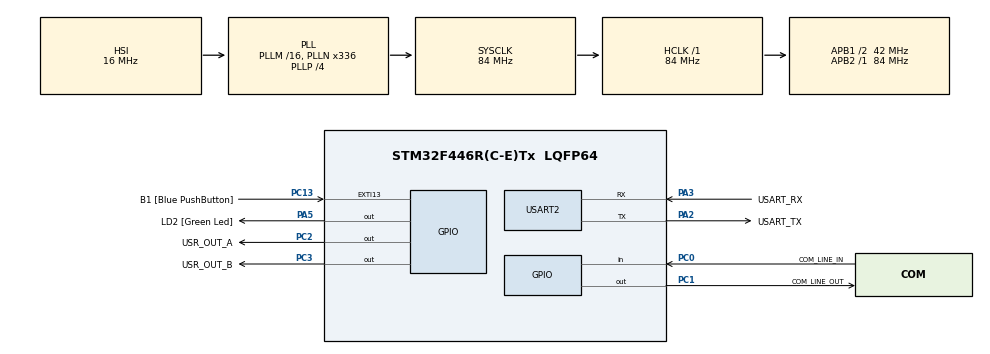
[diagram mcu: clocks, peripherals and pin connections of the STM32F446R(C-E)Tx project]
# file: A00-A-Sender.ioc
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Mcu.Family=STM32F4
Mcu.Name=STM32F446R(C-E)Tx
Mcu.Package=LQFP64
NVIC.PriorityGroup=NVIC_PRIORITYGROUP_0
PA13.GPIO_Label=TMS
PA13.Mode=Serial_Wire
PA13.Signal=SYS_JTMS-SWDIO
PA14.GPIO_Label=TCK
PA14.Mode=Serial_Wire
PA14.Signal=SYS_JTCK-SWCLK
PA2.GPIO_Label=USART_TX
PA2.Mode=Asynchronous
PA2.Signal=USART2_TX
PA3.GPIO_Label=USART_RX
PA3.Mode=Asynchronous
PA3.Signal=USART2_RX
PA5.GPIO_Label=LD2 [Green Led]
PA5.Signal=GPIO_Output
PB3.GPIO_Label=SWO
PB3.Signal=SYS_JTDO-SWO
PC0.GPIO_Label=COM_LINE_IN
PC0.Signal=GPIO_Input
PC1.GPIO_Label=COM_LINE_OUT
PC1.GPIO_ModeDefaultOutputPP=GPIO_MODE_OUTPUT_OD
PC1.GPIO_Speed=GPIO_SPEED_FREQ_VERY_HIGH
PC1.PinState=GPIO_PIN_RESET
PC1.Signal=GPIO_Output
PC13.GPIO_Label=B1 [Blue PushButton]
PC13.GPIO_ModeDefaultEXTI=GPIO_MODE_IT_FALLING
PC13.Signal=GPXTI13
PC14-OSC32_IN.Mode=LSE-External-Oscillator
PC14-OSC32_IN.Signal=RCC_OSC32_IN
PC15-OSC32_OUT.Mode=LSE-External-Oscillator
PC15-OSC32_OUT.Signal=RCC_OSC32_OUT
PC2.GPIO_Label=USR_OUT_A
PC2.GPIO_Speed=GPIO_SPEED_FREQ_VERY_HIGH
PC2.PinState=GPIO_PIN_SET
PC2.Signal=GPIO_Output
PC3.GPIO_Label=USR_OUT_B
PC3.GPIO_Speed=GPIO_SPEED_FREQ_VERY_HIGH
PC3.Signal=GPIO_Output
PH0-OSC_IN.Mode=HSE-External-Oscillator
PH0-OSC_IN.Signal=RCC_OSC_IN
PH1-OSC_OUT.Mode=HSE-External-Oscillator
PH1-OSC_OUT.Signal=RCC_OSC_OUT
ProjectManager.HeapSize=0x200
ProjectManager.StackSize=0x400
ProjectManager.TargetToolchain=STM32CubeIDE
RCC.48MHZClocksFreq_Value=84000000
RCC.AHBFreq_Value=84000000
RCC.APB1CLKDivider=RCC_HCLK_DIV2
RCC.APB1Freq_Value=42000000
RCC.APB1TimFreq_Value=84000000
RCC.APB2Freq_Value=84000000
RCC.APB2TimFreq_Value=84000000
RCC.CortexFreq_Value=84000000
RCC.FLatency-AdvancedSettings=FLASH_LATENCY_2
RCC.HCLKFreq_Value=84000000
RCC.HSE_VALUE=8000000
RCC.HSI_VALUE=16000000
RCC.PLLN=336
RCC.PLLP=RCC_PLLP_DIV4
RCC.SYSCLKFreq_VALUE=84000000
RCC.SYSCLKSource=RCC_SYSCLKSOURCE_PLLCLK
RCC.USBFreq_Value=168000000
RCC.VCOOutputFreq_Value=336000000
USART2.VirtualMode=VM_ASYNC
board=NUCLEO-F446RE

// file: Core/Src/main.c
/* USER CODE BEGIN Header */
/**
  ******************************************************************************
  * @file           : main.c
  * @brief          : Main program body
  ******************************************************************************
  * @attention
  *
  * <h2><center>&copy; Copyright (c) 2020 STMicroelectronics.
  * All rights reserved.</center></h2>
  *
  * This software component is licensed by ST under BSD 3-Clause license,
  * the "License"; You may not use this file except in compliance with the
  * License. You may obtain a copy of the License at:
  *                        opensource.org/licenses/BSD-3-Clause
  *
  ******************************************************************************
  */
/* USER CODE END Header */
#include "main.h"

/* USER CODE BEGIN PD */
//#define ARTIFICIAL_LOAD
#define IS_OPENDRAIN
/* USER CODE END PD */

UART_HandleTypeDef huart2;

void SystemClock_Config(void);
static void MX_GPIO_Init(void);
static void MX_USART2_UART_Init(void);

int main(void)
{

  /* MCU Configuration--------------------------------------------------------*/

  /* Reset of all peripherals, Initializes the Flash interface and the Systick. */
  HAL_Init();

  /* Configure the system clock */
  SystemClock_Config();

  /* Initialize all configured peripherals */
  MX_GPIO_Init();
  MX_USART2_UART_Init();
  /* USER CODE BEGIN 2 */

  //GPIO_PinState state_b1_logic = GPIO_PIN_RESET;
  GPIO_PinState state_b1_dynamic = GPIO_PIN_RESET;

#ifdef ARTIFICIAL_LOAD
  volatile uint32_t cmp_delay = 10;
#else
  volatile uint32_t cmp_pw = 100000;

#endif

  /* USER CODE END 2 */

  /* Infinite loop */
  while (1)
  {

    /* USER CODE BEGIN 3 */

	  // READ BUTTON
	  state_b1_dynamic = HAL_GPIO_ReadPin(B1_GPIO_Port, B1_Pin);

	  // WRITE LINE
#ifdef IS_OPENDRAIN
	  if(state_b1_dynamic == GPIO_PIN_RESET)
	  {
	  	  HAL_GPIO_WritePin(COM_LINE_OUT_GPIO_Port, COM_LINE_OUT_Pin, GPIO_PIN_RESET);
	  	  //for(uint32_t i = 0; i < cmp_pw; ++i){}
	  	  HAL_Delay(1);
	  	  HAL_GPIO_WritePin(COM_LINE_OUT_GPIO_Port, COM_LINE_OUT_Pin, GPIO_PIN_SET);
	  }

#else
	  if(state_b1_dynamic == GPIO_PIN_RESET)
	  	  {
		  	  HAL_GPIO_WritePin(USR_OUT_A_GPIO_Port, USR_OUT_A_Pin,GPIO_PIN_SET);
	  		  for(uint32_t i = 0; i < cmp_pw; ++i){}
		  	  HAL_GPIO_WritePin(USR_OUT_A_GPIO_Port, USR_OUT_A_Pin,GPIO_PIN_SET);
	  	  }
#endif

	  // LOAD
#ifdef ARTIFICIAL_LOAD
	  for(uint32_t i = 0; i < cmp_delay; ++i){}
#endif

  }
  /* USER CODE END 3 */
}

void SystemClock_Config(void)
{
  RCC_OscInitTypeDef RCC_OscInitStruct = {0};
  RCC_ClkInitTypeDef RCC_ClkInitStruct = {0};

  /** Configure the main internal regulator output voltage
  */
  __HAL_RCC_PWR_CLK_ENABLE();
  __HAL_PWR_VOLTAGESCALING_CONFIG(PWR_REGULATOR_VOLTAGE_SCALE3);
  /** Initializes the RCC Oscillators according to the specified parameters
  * in the RCC_OscInitTypeDef structure.
  */
  RCC_OscInitStruct.OscillatorType = RCC_OSCILLATORTYPE_HSI;
  RCC_OscInitStruct.HSIState = RCC_HSI_ON;
  RCC_OscInitStruct.HSICalibrationValue = RCC_HSICALIBRATION_DEFAULT;
  RCC_OscInitStruct.PLL.PLLState = RCC_PLL_ON;
  RCC_OscInitStruct.PLL.PLLSource = RCC_PLLSOURCE_HSI;
  RCC_OscInitStruct.PLL.PLLM = 16;
  RCC_OscInitStruct.PLL.PLLN = 336;
  RCC_OscInitStruct.PLL.PLLP = RCC_PLLP_DIV4;
  RCC_OscInitStruct.PLL.PLLQ = 2;
  RCC_OscInitStruct.PLL.PLLR = 2;
  if (HAL_RCC_OscConfig(&RCC_OscInitStruct) != HAL_OK)
  {
    Error_Handler();
  }
  /** Initializes the CPU, AHB and APB buses clocks
  */
  RCC_ClkInitStruct.ClockType = RCC_CLOCKTYPE_HCLK|RCC_CLOCKTYPE_SYSCLK
                              |RCC_CLOCKTYPE_PCLK1|RCC_CLOCKTYPE_PCLK2;
  RCC_ClkInitStruct.SYSCLKSource = RCC_SYSCLKSOURCE_PLLCLK;
  RCC_ClkInitStruct.AHBCLKDivider = RCC_SYSCLK_DIV1;
  RCC_ClkInitStruct.APB1CLKDivider = RCC_HCLK_DIV2;
  RCC_ClkInitStruct.APB2CLKDivider = RCC_HCLK_DIV1;

  if (HAL_RCC_ClockConfig(&RCC_ClkInitStruct, FLASH_LATENCY_2) != HAL_OK)
  {
    Error_Handler();
  }
}

static void MX_USART2_UART_Init(void)
{

  huart2.Instance = USART2;
  huart2.Init.BaudRate = 115200;
  huart2.Init.WordLength = UART_WORDLENGTH_8B;
  huart2.Init.StopBits = UART_STOPBITS_1;
  huart2.Init.Parity = UART_PARITY_NONE;
  huart2.Init.Mode = UART_MODE_TX_RX;
  huart2.Init.HwFlowCtl = UART_HWCONTROL_NONE;
  huart2.Init.OverSampling = UART_OVERSAMPLING_16;
  if (HAL_UART_Init(&huart2) != HAL_OK)
  {
    Error_Handler();
  }

}

static void MX_GPIO_Init(void)
{
  GPIO_InitTypeDef GPIO_InitStruct = {0};

  /* GPIO Ports Clock Enable */
  __HAL_RCC_GPIOC_CLK_ENABLE();
  __HAL_RCC_GPIOH_CLK_ENABLE();
  __HAL_RCC_GPIOA_CLK_ENABLE();
  __HAL_RCC_GPIOB_CLK_ENABLE();

  /*Configure GPIO pin Output Level */
  HAL_GPIO_WritePin(GPIOC, COM_LINE_OUT_Pin|USR_OUT_B_Pin, GPIO_PIN_RESET);

  /*Configure GPIO pin Output Level */
  HAL_GPIO_WritePin(USR_OUT_A_GPIO_Port, USR_OUT_A_Pin, GPIO_PIN_SET);

  /*Configure GPIO pin Output Level */
  HAL_GPIO_WritePin(LD2_GPIO_Port, LD2_Pin, GPIO_PIN_RESET);

  /*Configure GPIO pin : B1_Pin */
  GPIO_InitStruct.Pin = B1_Pin;
  GPIO_InitStruct.Mode = GPIO_MODE_IT_FALLING;
  GPIO_InitStruct.Pull = GPIO_NOPULL;
  HAL_GPIO_Init(B1_GPIO_Port, &GPIO_InitStruct);

  /*Configure GPIO pin : COM_LINE_IN_Pin */
  GPIO_InitStruct.Pin = COM_LINE_IN_Pin;
  GPIO_InitStruct.Mode = GPIO_MODE_INPUT;
  GPIO_InitStruct.Pull = GPIO_NOPULL;
  HAL_GPIO_Init(COM_LINE_IN_GPIO_Port, &GPIO_InitStruct);

  /*Configure GPIO pin : COM_LINE_OUT_Pin */
  GPIO_InitStruct.Pin = COM_LINE_OUT_Pin;
  GPIO_InitStruct.Mode = GPIO_MODE_OUTPUT_OD;
  GPIO_InitStruct.Pull = GPIO_NOPULL;
  GPIO_InitStruct.Speed = GPIO_SPEED_FREQ_VERY_HIGH;
  HAL_GPIO_Init(COM_LINE_OUT_GPIO_Port, &GPIO_InitStruct);

  /*Configure GPIO pins : USR_OUT_A_Pin USR_OUT_B_Pin */
  GPIO_InitStruct.Pin = USR_OUT_A_Pin|USR_OUT_B_Pin;
  GPIO_InitStruct.Mode = GPIO_MODE_OUTPUT_PP;
  GPIO_InitStruct.Pull = GPIO_NOPULL;
  GPIO_InitStruct.Speed = GPIO_SPEED_FREQ_VERY_HIGH;
  HAL_GPIO_Init(GPIOC, &GPIO_InitStruct);

  /*Configure GPIO pin : LD2_Pin */
  GPIO_InitStruct.Pin = LD2_Pin;
  GPIO_InitStruct.Mode = GPIO_MODE_OUTPUT_PP;
  GPIO_InitStruct.Pull = GPIO_NOPULL;
  GPIO_InitStruct.Speed = GPIO_SPEED_FREQ_LOW;
  HAL_GPIO_Init(LD2_GPIO_Port, &GPIO_InitStruct);

}

void Error_Handler(void)
{
}

/************************ (C) COPYRIGHT STMicroelectronics *****END OF FILE****/
